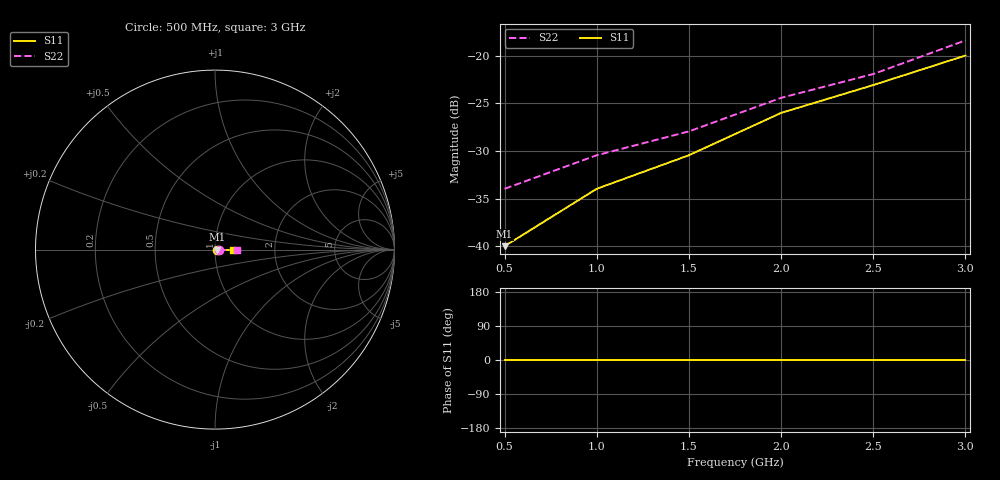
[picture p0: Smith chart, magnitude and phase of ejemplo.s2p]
# GHZ S MA R 50
! ejemplo v?lido para pruebas (2 puertos, magnitud-?ngulo)
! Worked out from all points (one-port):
!   6 points, 500 MHz to 3 GHz, reference 50 ohm
!   lowest |S11| = -40.0 dB at 500 MHz (marker M1), VSWR 1.02, Z = 51 + j0 ohm
!   |S11| at or under -10 dB: start of sweep to end of sweep
0.5  0.01 0.0  0 0.0  0 0.0  0.02 0.0
1  0.02 0.0  0 0.0  0 0.0  0.03 0.0
1.5  0.03 0.0  0 0.0  0 0.0  0.04 0.0
2  0.05 0.0  0 0.0  0 0.0  0.06 0.0
2.5  0.07 0.0  0 0.0  0 0.0  0.08 0.0
3  0.1 0.0  0 0.0  0 0.0  0.12 0.0
